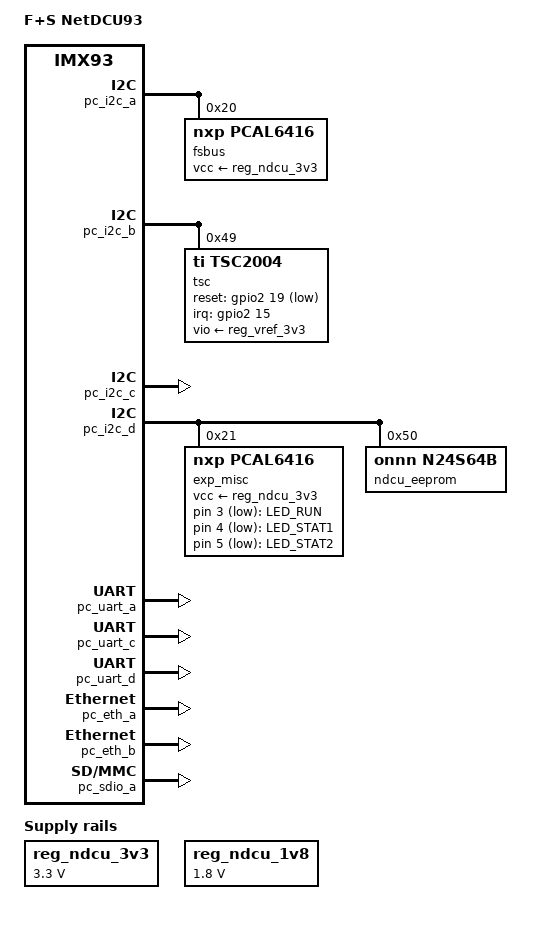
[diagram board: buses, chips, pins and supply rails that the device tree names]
/*
 * Copyright (C) 2026 F&S Elektronik Systeme GmbH
 *
 * This program is free software; you can redistribute it and/or modify
 * it under the terms of the GNU General Public License version 2 as
 * published by the Free Software Foundation.
 */

/* Set board revision as 3-digit number, e.g. 110 for board rev. 1.10 */
#define CONFIG_PICOCOREMX93_BOARD_REVISION	110
/* Set baseboard revision as 3-digit number, e.g. 110 for board rev. 1.10 */
#define CONFIG_NDCU_BOARD_REVISION	120

// #define SUPPORT_M33
// #define SUPPORT_RPMSG

/* Network */
#define CONFIG_PICOCOREMX93_ETH_A
#define CONFIG_PICOCOREMX93_ETH_A_LED_LINK
//#define CONFIG_PICOCOREMX93_ETH_A_LED_ACT

#define CONFIG_PICOCOREMX93_ETH_B
#define CONFIG_PICOCOREMX93_ETH_B_LED_LINK
//#define CONFIG_PICOCOREMX93_ETH_B_LED_ACT

/* CAN - CAN1 extern J1 pins 10,12*/
#define CONFIG_PICOCOREMX93_CAN

/* I2C */
/* intern EEPROM and extern J1 pins 4,6 */
#define CONFIG_PICOCOREMX93_I2C_A
/* extern J1 pins 3,5 */
#define CONFIG_PICOCOREMX93_I2C_B
/* extern J1 pins 40, 42 */
#define CONFIG_PICOCOREMX93_I2C_C
/* intern RTC, Audio, PMIC, GPIO_Exp.
 * and extern pins J1 48,50
 */
#define CONFIG_PICOCOREMX93_I2C_D

/* SPI_A - LPSPI6 extern pins 64,66,68,70 */
#define CONFIG_PICOCOREMX93_SPI_A
/* SPI_B - LPSPI3 extern pins 56,58,60,62 */
#define CONFIG_PICOCOREMX93_SPI_B

/* PWM and backlight brightness */
#define CONFIG_PICOCOREMX93_PWM_A
#define CONFIG_PICOCOREMX93_BL_CTRL

/* UART_A - UART2 */
#define CONFIG_PICOCOREMX93_UART_A
#define CONFIG_PICOCOREMX93_UART_A_RTSCTS

/* UART_B - UART6 */
#define CONFIG_PICOCOREMX93_UART_B
#define CONFIG_PICOCOREMX93_UART_B_RTSCTS
#define CONFIG_PICOCOREMX93_UART_B_BT

/* UART_C - UART1 */
#define CONFIG_PICOCOREMX93_UART_C

/* UART_D - UART3 extern J1 34,36
 * SKIT: J11 13,15
 */
#define CONFIG_PICOCOREMX93_UART_D

/* SD_A - SD2 */
#define CONFIG_PICOCOREMX93_SD_A

/* SD_B - SD3 */
#define CONFIG_PICOCOREMX93_SD_B

/* ADC0..3 extern J2 73,75,77,79
 * SKIT: J11 7,9,10,12
 */
// #define CONFIG_PICOCOREMX93_ADC
/* extern RTC */
#define CONFIG_PICOCOREMX93_EXT_RTC
/* Audio: SGTL5000 codec */
#define CONFIG_PICOCOREMX93_SGTL5000_AUDIO
#define CONFIG_PICOCOREMX93_I2S_A

/*
 * Exclude devices from Linux that are used by the Cortex-M33 FreeRTOS examples
 *
 * - UART_C: Debug Console for Cortex-M33
 * - PWM_A: PWM Signal for the PWM example
 * - CAN_A: CAN-Signal for FlexCAN examples
 * - I2C_A:  I2C Bus used in I2C examples
 * - SPI_B:  SPI_B is used for ECSPI examples
 *
 */

#ifdef SUPPORT_M33
/* TODO: */
#else
#undef SUPPORT_RPMSG
#endif

#ifdef CONFIG_PICOCOREMX93_ETH_A_LED_LINK
#undef CONFIG_PICOCOREMX93_ETH_A_LED_ACT
#endif

#ifdef CONFIG_PICOCOREMX93_ETH_B_LED_LINK
#undef CONFIG_PICOCOREMX93_ETH_B_LED_ACT
#endif

#include "picocoremx93.dtsi"

ndcu_i2c_a: &pc_i2c_a {};
ndcu_i2c_b: &pc_i2c_b {};
ndcu_i2c_c: &pc_i2c_c {};
ndcu_i2c_int: &pc_i2c_d {};
ndcu_uart_a: &pc_uart_a {};
ndcu_uart_b: &pc_uart_b {};
ndcu_uart_c: &pc_uart_c {};
ndcu_uart_d: &pc_uart_d {};
ndcu_eth_a: &pc_eth_a {};
ndcu_eth_b: &pc_eth_b {};
ndcu_usb_a: &pc_usb_1 {};
ndcu_usb_b: &pc_usb_2 {};
ndcu_sdio_a: &pc_sdio_a {};
ndcu_spi_a: &pc_spi_a {};
ndcu_spi_b: &pc_spi_b {};
ndcu_sai: &pc_sai {};

/ {
	model = "F+S NetDCU93";
	compatible = "fus,imx93-netdcu93", "fsl,imx93";

	chosen {
		bootargs = "console=ttyLP0,115200";
		stdout-path = &ndcu_uart_c;
	};

	/delete-node/ aliases;
	aliases {
		ethernet0 = &ndcu_eth_a;
		ethernet1 = &ndcu_eth_b;
		i2c0 = &ndcu_i2c_int;
		i2c1 = &ndcu_i2c_a;
		i2c2 = &ndcu_i2c_b;
		i2c3 = &ndcu_i2c_c;
		mmc0 = &emmc;
		mmc1 = &ndcu_sdio_a;
		mmc2 = &pc_sdio_b;	// PC WLAN
		serial0 = &pc_uart_c;	// DEBUG
		serial1 = &pc_uart_a;
		serial2 = &pc_uart_b;	// PC BT
		serial4 = &pc_uart_d;
		spi0 = &ndcu_spi_a;
		spi1 = &ndcu_spi_b;
		rtc0 = &ext_rtc;
		rtc1 = &bbnsm_rtc;
		adc  = &adc1;
	};

	regulators{
		compatible = "simple-bus";
		#address-cells = <1>;
		#size-cells = <0>;

		reg_ndcu_3v3: regulator_ndcu_3v3 {
			compatible = "regulator-fixed";
			regulator-name = "ndcu-3V3";
			regulator-min-microvolt = <3300000>;
			regulator-max-microvolt = <3300000>;
			regulator-always-on;
		};

		reg_ndcu_1v8: regulator_ndcu_1v8 {
			compatible = "regulator-fixed";
			regulator-name = "ndcu-1V8";
			regulator-min-microvolt = <1800000>;
			regulator-max-microvolt = <1800000>;
			regulator-always-on;
		};
	};
};

/*==== Ethernet ====*/
&ndcu_eth_a {
	status = "okay";
};

&ndcu_eth_b {
	status = "okay";
};

/*====== I2C ======*/
&ndcu_i2c_int {
	status = "okay";
};

&ndcu_i2c_a {
	status = "okay";
};

&ndcu_i2c_b {
	status = "okay";
};

&ndcu_i2c_c {
	status = "okay";
};

/*===== UART =====*/
&ndcu_uart_a {
	status = "okay";
};

#ifndef CONFIG_PICOCOREMX93_UART_B_BT
&ndcu_uart_b {
	linux,rs485-enabled-at-boot-time;
	status = "okay";
};
#endif

&ndcu_uart_c {
	status = "okay";
};

&ndcu_uart_d {
	status = "okay";
};

/*====== SD ======*/
&ndcu_sdio_a {
	status = "okay";
};

/*===== FSBUS =====*/
&ndcu_i2c_a {
	fsbus: pcal6416a@20 {
		compatible = "nxp,pcal6416";
		reg = <0x20>;
		vcc-supply = <&reg_ndcu_3v3>;
		gpio-controller;
		#gpio-cells = <2>;
		gpio-line-names =
		  /* 0 - 3*/	"PIF_D0", "PIF_D1", "PIF_D2", "PIF_D3",
		  /* 4 - 7 */	"PIF_D4", "PIF_D5", "PIF_D6", "PIF_D7",
		  /* 8 - 11 */	"PIF_IRQ", "PIF_CS", "PIF_RW", "PIF_ADE",
		  /* 12 -15 */	"", "", "", "";
		status = "okay";
	};
};

/**
 * TODO: Write driver for FSBUS-FPGA
 * /

/* === I2C Periphery === */
/{
	leds {
		compatible = "gpio-leds";

		LED_RUN {
			label = "LED_RUN";
			gpios = <&exp_misc 3 GPIO_ACTIVE_LOW>;
			linux,default-trigger = "default-on";
			default-state = "on";
		};

		LED_STAT1 {
			label = "LED_STAT1";
			gpios = <&exp_misc 4 GPIO_ACTIVE_LOW>;
			linux,default-trigger = "mmc0";
			default-state = "on";
		};

		LED_STAT2 {
			label = "LED_STAT2";
			gpios = <&exp_misc 5 GPIO_ACTIVE_LOW>;
			default-state = "off";
		};
	};
};

&ndcu_i2c_int {
	exp_misc: pcal6416a@21 {
		compatible = "nxp,pcal6416";
		reg = <0x21>;
		vcc-supply = <&reg_ndcu_3v3>;
		gpio-controller;
		#gpio-cells = <2>;
		gpio-line-names =
		  /* 0 - 3*/	"DISP_BL_EN", "RGB_DEN", "DISP_VDD_EN", "LED_RUN",
		  /* 4 - 7 */	"LED_STAT1", "LED_STAT2", "", "FPGA_PRST",
		  /* 8 - 11 */	"FPGA_EN", "FPGA_PWR", "FPGA_IO0", "FPGA_IO1",
		  /* 12 -15 */	"COL3_IOEXP", "COL2_IOEXP", "COL4_IOEXP", "COL5_IOEXP";
		status = "okay";
	};

	ndcu_eeprom: eeprom@50 {
		compatible = "onnn,n24s64b", "atmel,24c64";
		reg = <0x50>;
		size = <8192>;
		pagesize = <32>;
	};
};

&ndcu_i2c_b {
		tsc: tsc2004@49 {
  		compatible = "ti,tsc2004";
  		reg = <0x49>;
		reset-gpios = <&gpio2 19 GPIO_ACTIVE_LOW>;

		vio-supply = <&reg_vref_3v3>;
		interrupts-extended = <&gpio2 15 IRQ_TYPE_EDGE_FALLING>;
		touchscreen-fuzz-x = <4>;
		touchscreen-fuzz-y = <7>;
		touchscreen-fuzz-pressure = <20>;
		touchscreen-size-x = <4096>;
		touchscreen-size-y = <4096>;
		touchscreen-max-pressure = <2048>;
		touchscreen-inverted-y;
		ti,x-plate-ohms = <280>;
		ti,pre-charge-time = <4>;
		ti,sense-time-sel = <3>;

		status = "okay";
	};
};
